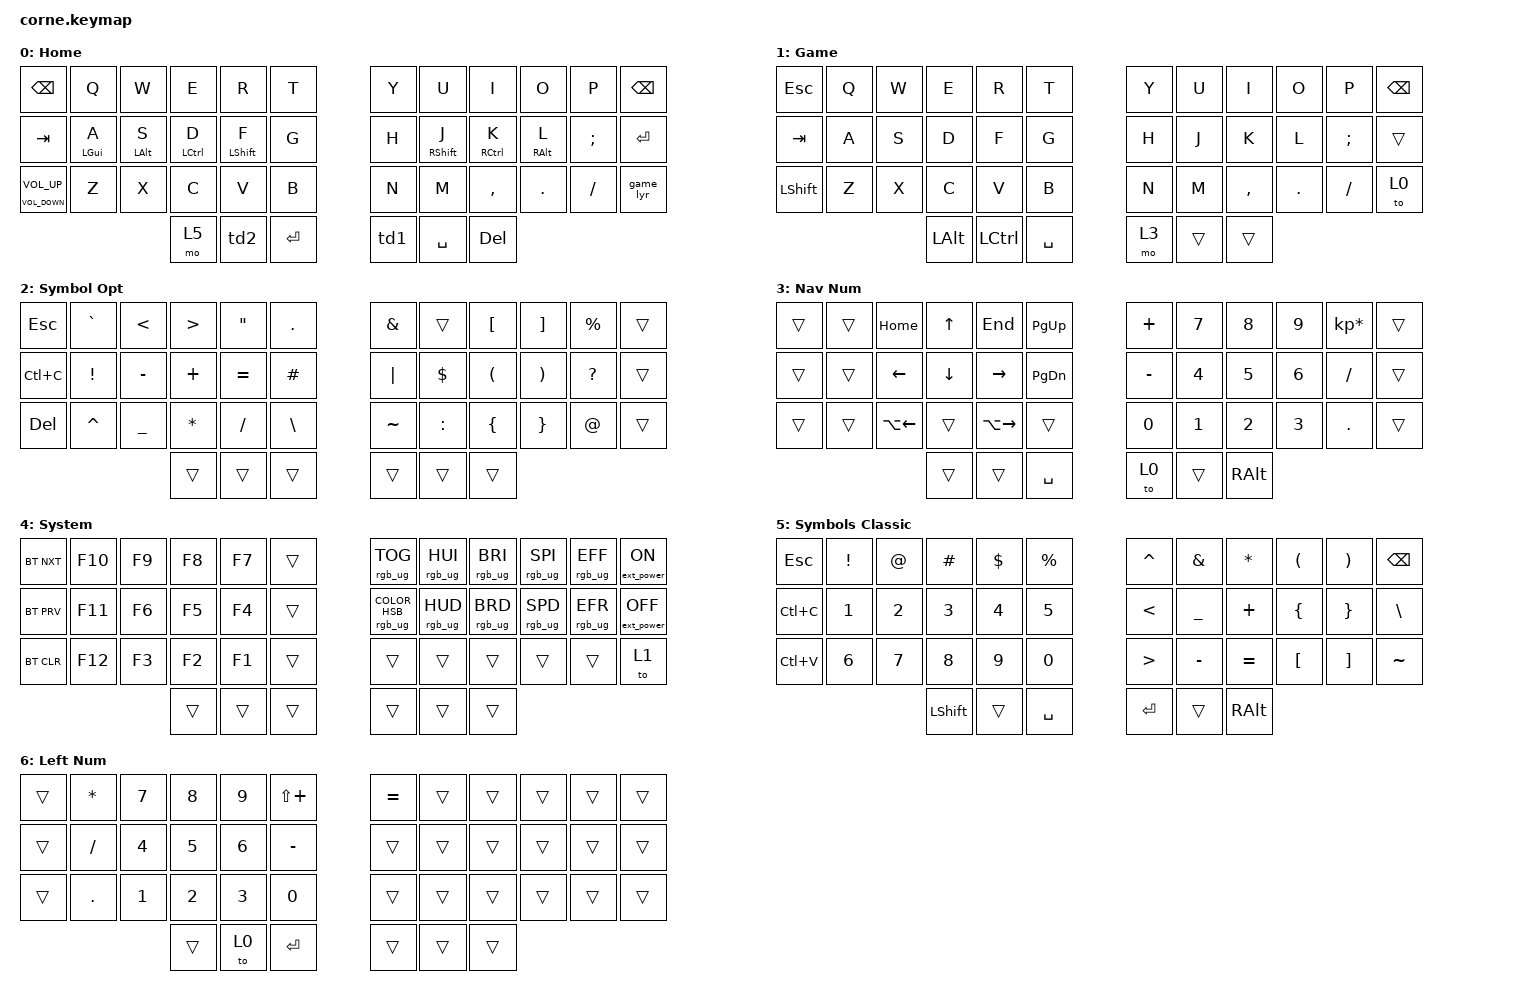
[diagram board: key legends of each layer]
/*
 * Copyright (c) 2020 The ZMK Contributors
 *
 * SPDX-License-Identifier: MIT
 */

#include <behaviors.dtsi>
#include <dt-bindings/zmk/bt.h>
#include <dt-bindings/zmk/ext_power.h>
#include <dt-bindings/zmk/keys.h>
#include <dt-bindings/zmk/rgb.h>

&led_strip { chain-length = <27>; };

/ {
    behaviors {
        hm: homerow_mods {
            compatible = "zmk,behavior-hold-tap";
            label = "HOMEROW_MODS";
            bindings = <&kp>, <&kp>;

            #binding-cells = <2>;
            tapping-term-ms = <200>;
            quick-tap-ms = <0>;
            flavor = "tap-preferred";
        };

        td1: tap_dance_1 {
            compatible = "zmk,behavior-tap-dance";
            label = "TAP_DANCE_1";
            #binding-cells = <0>;
            bindings = <&mo 3>, <&to 3>;
        };

        td2: tap_dance_2 {
            compatible = "zmk,behavior-tap-dance";
            label = "TAP_DANCE_2";
            #binding-cells = <0>;
            bindings = <&mo 2>, <&mo 3>, <&mo 5>;
        };

        volume_btn: volume_btn {
            compatible = "zmk,behavior-hold-tap";
            label = "VOLUME_BTN";
            bindings = <&kp>, <&kp>;

            #binding-cells = <2>;
            tapping-term-ms = <200>;
        };

        game_lyr: game_lyr {
            compatible = "zmk,behavior-tap-dance";
            label = "GAME_LYR";
            #binding-cells = <0>;
            bindings = <&kp SQT>, <&to 1>;
        };
    };

    combos {
        compatible = "zmk,combos";

        combo_caps {
            bindings = <&kp CAPSLOCK>;
            key-positions = <16 19>;
        };
    };

    keymap {
        compatible = "zmk,keymap";

        default_layer {
            // -----------------------------------------------------------------------------------------
            // |  TAB |  Q  |  W  |  E  |  R  |  T  |   |  Y  |  U   |  I  |  O  |  P  | BSPC |
            // | CTRL |  A  |  S  |  D  |  F  |  G  |   |  H  |  J   |  K  |  L  |  ;  |  '   |
            // | SHFT |  Z  |  X  |  C  |  V  |  B  |   |  N  |  M   |  ,  |  .  |  /  | ESC  |
            //                    | GUI | LWR | SPC |   | ENT | RSE  | ALT |

            bindings = <
&kp BACKSPACE                          &kp Q           &kp W       &kp E        &kp R        &kp T        &kp Y  &kp U        &kp I        &kp O       &kp P     &kp BSPC
&kp TAB                                &hm LEFT_GUI A  &hm LALT S  &hm LCTRL D  &hm LSHFT F  &kp G        &kp H  &hm RSHFT J  &hm RCTRL K  &hm RALT L  &kp SEMI  &kp ENTER
&volume_btn C_VOLUME_DOWN C_VOLUME_UP  &kp Z           &kp X       &kp C        &kp V        &kp B        &kp N  &kp M        &kp COMMA    &kp DOT     &kp FSLH  &game_lyr
                                                                   &mo 5        &td2         &kp ENTER    &td1   &kp SPACE    &kp DELETE
            >;

            label = "Home";
        };

        game_layer {
            bindings = <
&kp ESC         &kp Q  &kp W  &kp E         &kp R      &kp T        &kp Y  &kp U   &kp I      &kp O    &kp P     &kp BSPC
&kp TAB         &kp A  &kp S  &kp D         &kp F      &kp G        &kp H  &kp J   &kp K      &kp L    &kp SEMI  &trans
&kp LEFT_SHIFT  &kp Z  &kp X  &kp C         &kp V      &kp B        &kp N  &kp M   &kp COMMA  &kp DOT  &kp FSLH  &to 0
                              &kp LEFT_ALT  &kp LCTRL  &kp SPACE    &mo 3  &trans  &trans
            >;

            label = "Game";
        };

        symbol_opt {
            bindings = <
&kp ESCAPE  &kp GRAVE  &kp LT     &kp GT    &kp DQT    &kp DOT     &kp AMPERSAND  &trans      &kp LBKT  &kp RBKT  &kp PERCENT   &trans
&kp LC(C)   &kp EXCL   &kp MINUS  &kp PLUS  &kp EQUAL  &kp HASH    &kp PIPE       &kp DOLLAR  &kp LPAR  &kp RPAR  &kp QUESTION  &trans
&kp DEL     &kp CARET  &kp UNDER  &kp STAR  &kp SLASH  &kp BSLH    &kp TILDE      &kp COLON   &kp LBRC  &kp RBRC  &kp AT        &trans
                                  &trans    &trans     &trans      &trans         &trans      &trans
            >;

            label = "Symbol Opt";
        };

        nav_num {
            // -----------------------------------------------------------------------------------------
            // |  TAB |  1  |  2  |  3  |  4  |  5  |   |  6  |  7  |  8  |  9  |  0  | BSPC |
            // | BTCLR| BT1 | BT2 | BT3 | BT4 | BT5 |   | LFT | DWN |  UP | RGT |     |      |
            // | SHFT |     |     |     |     |     |   |     |     |     |     |     |      |
            //                    | GUI |     | SPC |   | ENT |     | ALT |

            bindings = <
&trans  &trans  &kp HOME            &kp UP    &kp END        &kp PG_UP    &kp PLUS   &kp N7  &kp N8    &kp N9  &kp KP_MULTIPLY  &trans
&trans  &trans  &kp LEFT            &kp DOWN  &kp RIGHT      &kp PG_DN    &kp MINUS  &kp N4  &kp N5    &kp N6  &kp FSLH         &trans
&trans  &trans  &kp LA(LEFT_ARROW)  &trans    &kp LA(RIGHT)  &trans       &kp N0     &kp N1  &kp N2    &kp N3  &kp DOT          &trans
                                    &trans    &trans         &kp SPACE    &to 0      &trans  &kp RALT
            >;

            label = "Nav Num";
        };

        System {
            bindings = <
&bt BT_NXT  &kp F10  &kp F9  &kp F8  &kp F7  &trans    &rgb_ug RGB_TOG                   &rgb_ug RGB_HUI  &rgb_ug RGB_BRI  &rgb_ug RGB_SPI  &rgb_ug RGB_EFF  &ext_power EP_ON
&bt BT_PRV  &kp F11  &kp F6  &kp F5  &kp F4  &trans    &rgb_ug RGB_COLOR_HSB(26,100,49)  &rgb_ug RGB_HUD  &rgb_ug RGB_BRD  &rgb_ug RGB_SPD  &rgb_ug RGB_EFR  &ext_power EP_OFF
&bt BT_CLR  &kp F12  &kp F3  &kp F2  &kp F1  &trans    &trans                            &trans           &trans           &trans           &trans           &to 1
                             &trans  &trans  &trans    &trans                            &trans           &trans
            >;

            label = "System";
        };

        symbol_classic {
            // -----------------------------------------------------------------------------------------
            // |  TAB |  !  |  @  |  #  |  $  |  %  |   |  ^  |  &  |  *  |  (  |  )  | BSPC |
            // | CTRL |     |     |     |     |     |   |  -  |  =  |  [  |  ]  |  \  |  `   |
            // | SHFT |     |     |     |     |     |   |  _  |  +  |  {  |  }  | "|" |  ~   |
            //                    | GUI |     | SPC |   | ENT |     | ALT |

            bindings = <
&kp ESCAPE  &kp EXCL      &kp AT  &kp HASH    &kp DLLR  &kp PRCNT    &kp CARET         &kp AMPS   &kp ASTRK  &kp LPAR  &kp RPAR  &kp BSPC
&kp LC(C)   &kp NUMBER_1  &kp N2  &kp N3      &kp N4    &kp N5       &kp LESS_THAN     &kp UNDER  &kp PLUS   &kp LBRC  &kp RBRC  &kp BACKSLASH
&kp LC(V)   &kp N6        &kp N7  &kp N8      &kp N9    &kp N0       &kp GREATER_THAN  &kp MINUS  &kp EQUAL  &kp LBKT  &kp RBKT  &kp TILDE
                                  &kp LSHIFT  &trans    &kp SPACE    &kp RET           &trans     &kp RALT
            >;

            label = "Symbols Classic";
        };

        left_num {
            bindings = <
&trans  &kp STAR  &kp N7  &kp N8  &kp N9  &kp LS(PLUS)    &kp EQUAL  &trans  &trans  &trans  &trans  &trans
&trans  &kp FSLH  &kp N4  &kp N5  &kp N6  &kp MINUS       &trans     &trans  &trans  &trans  &trans  &trans
&trans  &kp DOT   &kp N1  &kp N2  &kp N3  &kp N0          &trans     &trans  &trans  &trans  &trans  &trans
                          &trans  &to 0   &kp ENTER       &trans     &trans  &trans
            >;

            label = "Left Num";
        };
    };

    conditional_layers {
        compatible = "zmk,conditional-layers";

        system_layer_con {
            if-layers = <3 2>;
            then-layer = <4>;
        };
    };
};
